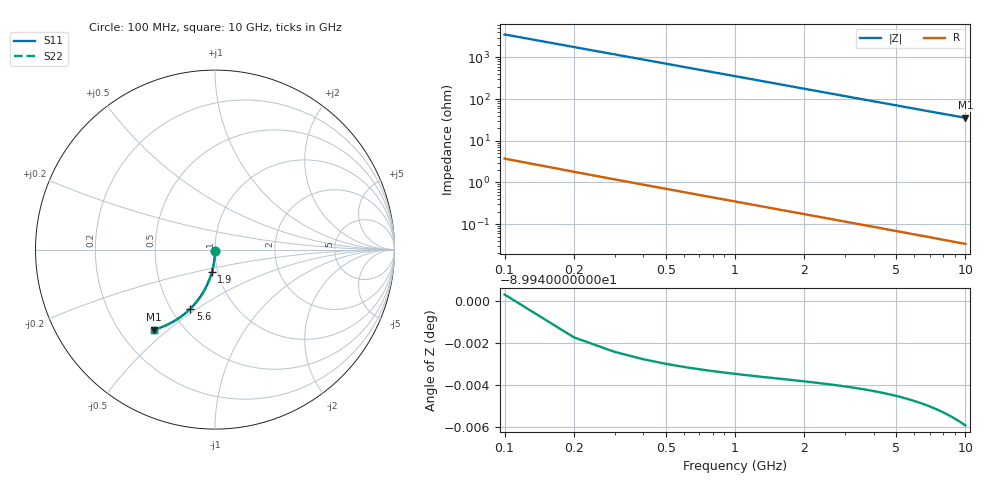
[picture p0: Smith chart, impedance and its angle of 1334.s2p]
# Hz S RI R 50.00
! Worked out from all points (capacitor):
!   100 points, 100 MHz to 10 GHz, reference 50 ohm
!   read as one part in shunt: C = 449 fF near 100 MHz
!   lowest |Z| = 35.5 ohm at 10 GHz (marker M1)
!   S11 on the Smith chart (normalised r, x): 100 MHz: 1.00, -0.01; 1.9 GHz: 0.94, -0.24; 5.6 GHz: 0.62, -0.47; 10 GHz: 0.34, -0.45
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1e8  -2.58e-06 -0.00678  0.9999 -0.00731  0.9999 -0.00731  -2.58e-06 -0.00678
2e8  -0.000158 -0.0136  0.9997 -0.0146  0.9997 -0.0146  -0.000158 -0.0136
3e8  -0.000413 -0.0203  0.9995 -0.0219  0.9995 -0.0219  -0.000413 -0.0203
4e8  -0.000766 -0.0271  0.9991 -0.0292  0.9991 -0.0292  -0.000766 -0.0271
5e8  -0.00122 -0.0339  0.9987 -0.0365  0.9987 -0.0365  -0.00122 -0.0339
6e8  -0.00177 -0.0406  0.9981 -0.0438  0.9981 -0.0438  -0.00177 -0.0406
7e8  -0.00242 -0.0474  0.9975 -0.0511  0.9975 -0.0511  -0.00242 -0.0474
8e8  -0.00317 -0.0541  0.9967 -0.0584  0.9967 -0.0584  -0.00317 -0.0541
9e8  -0.00401 -0.0608  0.9959 -0.0656  0.9959 -0.0656  -0.00401 -0.0608
1.1e9  -0.006 -0.0742  0.9939 -0.08  0.9939 -0.08  -0.006 -0.0742
1.4e9  -0.00969 -0.0941  0.9902 -0.1015  0.9902 -0.1015  -0.00969 -0.0941
1.8e9  -0.0159 -0.1203  0.9839 -0.1298  0.9839 -0.1298  -0.0159 -0.1203
1.9e9  -0.0177 -0.1267  0.9821 -0.1368  0.9821 -0.1368  -0.0177 -0.1267
2.2e9  -0.0236 -0.1459  0.9762 -0.1576  0.9762 -0.1576  -0.0236 -0.1459
2.6e9  -0.0327 -0.1709  0.967 -0.1847  0.967 -0.1847  -0.0327 -0.1709
3.4e9  -0.0548 -0.2184  0.9449 -0.2365  0.9449 -0.2365  -0.0548 -0.2184
4.2e9  -0.0815 -0.2622  0.9181 -0.2846  0.9181 -0.2846  -0.0815 -0.2622
5.1e9  -0.116 -0.3064  0.8835 -0.3337  0.8835 -0.3337  -0.116 -0.3064
5.6e9  -0.1368 -0.3284  0.8626 -0.3585  0.8626 -0.3585  -0.1368 -0.3284
6.7e9  -0.1855 -0.3704  0.8137 -0.4066  0.8137 -0.4066  -0.1855 -0.3704
8.4e9  -0.2647 -0.4182  0.7341 -0.4638  0.7341 -0.4638  -0.2647 -0.4182
1e10  -0.3391 -0.4458  0.6593 -0.5005  0.6593 -0.5005  -0.3391 -0.4458
